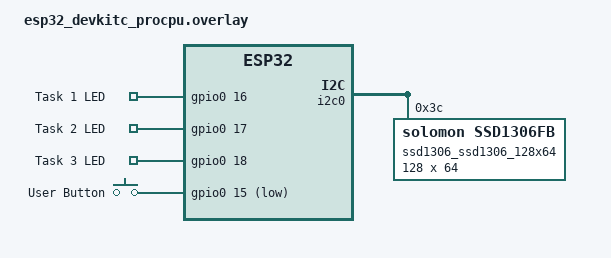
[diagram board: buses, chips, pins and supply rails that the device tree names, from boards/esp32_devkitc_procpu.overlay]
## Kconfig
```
mainmenu "TDA App"

config NUM_TASKS
  int "Number of tasks"
  default 5

config TASK1_PERIOD_MS
  int "Period of TASK1" 
  default 10000

config TASK1_EXECUTION_TIME_MS
  int "Period of TASK1" 
  default 1000

config TASK1_RELEASE_MS
  int "Period of TASK1" 
  default 0

config TASK2_PERIOD_MS
  int "Period of TASK2" 
  default 10000

config TASK2_EXECUTION_TIME_MS
  int "Period of TASK2" 
  default 1000

config TASK2_RELEASE_MS
  int "Period of TASK2" 
  default 0

config TASK3_PERIOD_MS
  int "Period of TASK3" 
  default 10000

config TASK3_EXECUTION_TIME_MS
  int "Period of TASK3" 
  default 1000

config TASK3_RELEASE_MS
  int "Period of TASK3" 
  default 0

config TASK4_PERIOD_MS
  int "Period of TASK4" 
  default 10000

config TASK4_EXECUTION_TIME_MS
  int "Period of TASK4" 
  default 1000

config TASK4_RELEASE_MS
  int "Period of TASK4" 
  default 0

config SNOWFLAKES
  int "Number of snowflakes to animate"
  default 40

source "Kconfig.zephyr"
```

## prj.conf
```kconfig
CONFIG_GPIO=y
CONFIG_BOOTLOADER_MCUBOOT=y

CONFIG_DISPLAY=y
CONFIG_CHARACTER_FRAMEBUFFER=y
CONFIG_CBPRINTF_FP_SUPPORT=y

CONFIG_SCHED_DEADLINE=y

# Task Configuration
CONFIG_NUM_TASKS=5

CONFIG_TASK1_PERIOD_MS=5000
CONFIG_TASK1_EXECUTION_TIME_MS=2000
CONFIG_TASK1_RELEASE_MS=0

CONFIG_TASK2_PERIOD_MS=3000
CONFIG_TASK2_EXECUTION_TIME_MS=1000
CONFIG_TASK2_RELEASE_MS=0

CONFIG_TASK3_PERIOD_MS=7000
CONFIG_TASK3_EXECUTION_TIME_MS=2000
CONFIG_TASK3_RELEASE_MS=0

CONFIG_TASK4_PERIOD_MS=7000
CONFIG_TASK4_EXECUTION_TIME_MS=1000
CONFIG_TASK4_RELEASE_MS=0

CONFIG_SNOWFLAKES=40
```

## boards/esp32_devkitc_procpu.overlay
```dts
/ {
    aliases {
        sw0 = &button;
    };

    custom_gpio {
        compatible = "gpio-keys";

        task1_led: task1_led {
            gpios = <&gpio0 16 GPIO_ACTIVE_HIGH>;
            label = "Task 1 LED";
        };
        task2_led: task2_led {
            gpios = <&gpio0 17 GPIO_ACTIVE_HIGH>;
            label = "Task 2 LED";
        };
        task3_led: task3_led {
            gpios = <&gpio0 18 GPIO_ACTIVE_HIGH>;
            label = "Task 3 LED";
        };
    };

    /* TODO (Part b): Configure a button input on PIN 15 */
    buttons {
        compatible = "gpio-keys";
        button: button {
            gpios = <&gpio0 15 (GPIO_PULL_UP | GPIO_ACTIVE_LOW)>;
            label = "User Button";
        };
    };

    chosen {
        task1_led = &task1_led;
        task2_led = &task2_led;
        task3_led = &task3_led;
	zephyr,display = &ssd1306_ssd1306_128x64;
    };
};

/* TODO: Configure I2C for the SSD1306 display.
* You can reuse your solution from the previous exercise. */
&i2c0 {
    status = "okay";

    ssd1306_ssd1306_128x64: ssd1306@3c {
        compatible = "solomon,ssd1306fb";
        reg = <0x3c>;
        width = <128>;
        height = <64>;
        segment-offset = <0>;
        page-offset = <0>;
        display-offset = <0>;
        multiplex-ratio = <63>;
        segment-remap;
        com-invdir;
        prechargep = <0x22>;
    };
};
```

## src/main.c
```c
/**
 * Assignment 3: EDF Scheduler with Deferrable Server
 * 
 * Authors: Eldeib, Marawan
 *          Moninger, Lukas
 *          Patoliya, Mayur
 */

#include <zephyr/kernel.h>

#include "tasks.h"

K_THREAD_STACK_ARRAY_DEFINE(task_stacks, CONFIG_NUM_TASKS, STACKSIZE);

PERIODIC_TASK_SETUP(1);
PERIODIC_TASK_SETUP(2);
PERIODIC_TASK_SETUP(3);
DEFERRABLE_SERVER_SETUP(4);

int main()
{
	/* Compared to the previous exercises, we now utilize slightly more advanced iterable
	 * sections that simplify task initialization. For more information, please refer to
	 *  - https://docs.zephyrproject.org/latest/kernel/iterable_sections/index.html
	 *  - https://docs.zephyrproject.org/latest/doxygen/html/group__iterable__section__apis.html
	 */
	STRUCT_SECTION_FOREACH(task_params, params) {
		if (params->type == DEFERRABLE_SERVER || acceptance_test(params)) {
			k_thread_create(params->thread, task_stacks[params->task_id], STACKSIZE,
					params->func, params, NULL, NULL, params->priority, 0,
					K_NO_WAIT);
		}
	}

	start_time_keeper();

	return 0;
}
```

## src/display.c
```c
#include "display.h"
#include <zephyr/device.h>
#include <zephyr/drivers/display.h>
#include <zephyr/kernel.h>

#include <zephyr/display/cfb.h>
#include <zephyr/drivers/display.h>
#include <stdlib.h>

#define SSD1306 DT_CHOSEN(zephyr_display)
static const struct device *dev = DEVICE_DT_GET(SSD1306);
static const uint32_t display_width = DT_PROP(SSD1306, width);
static const uint32_t display_height = DT_PROP(SSD1306, height);

int ssd1306_setup(void)
{
	if (!device_is_ready(dev)) {
		printf("ERROR: Display device not ready");
		return -EIO;
	}

	if (display_set_pixel_format(dev, PIXEL_FORMAT_MONO01)) {
		printf("ERROR: Failed to set required pixel format");
		return -EIO;
	}

	if (display_blanking_off(dev)) {
		printf("ERROR: Failed to turn off display blanking");
		return -EIO;
	}

	if (cfb_framebuffer_init(dev)) {
		printf("ERROR: Failed to initialize character framebuffer");
		return -EIO;
	}
	cfb_framebuffer_invert(dev);
	cfb_framebuffer_clear(dev, true);
	return 0;
}
SYS_INIT(ssd1306_setup, APPLICATION, CONFIG_KERNEL_INIT_PRIORITY_DEVICE);

/* @brief Draw bitmap
 *
 * @param dev	  pointer to device structure for driver instance
 * @param bitmap  bitmap of size 128x64
 *
 * @return 0 on success, negative value otherwise
 */
int cfb_draw_bitmap(const struct device *dev, const unsigned char *bitmap)
{
	struct cfb_position pos;
	uint16_t byteWidth = display_width / 8;
	for (pos.y = 0; pos.y < display_height; pos.y++) {
		for (pos.x = 0; pos.x < display_width; pos.x++) {
			if (bitmap[pos.y * byteWidth + pos.x / 8] & (128 >> (pos.x & 7))) {
				cfb_draw_point(dev, &pos);
			}
		}
	}

	return 0;
}

/* @brief Display snowman bitmap and CONFIG_SNOWFLAKES randomly generated snowflakes
 *
 * For some reason, the SSD1306 display does not always respond, which is often
 * because it was not correctly initialized. While unsatisfactory, the simplest
 * approach seems to be to restart the ESP or to reconnect the USB cable.
 */
void ssd1306_print_aperiodic_task()
{
	if (!device_is_ready(dev)) {
		printf("ERROR: Display device not ready");
		printf("Check your wiring or try reconnecting your USB cable");
		return;
	}

	cfb_framebuffer_clear(dev, false);
	cfb_draw_bitmap(dev, snowman_bitmap);

	struct cfb_position pos;
	for (int i = 0; i < CONFIG_SNOWFLAKES; i++) {
		pos.x = rand() % display_width;
		pos.y = rand() % display_height;
		cfb_draw_point(dev, &pos);
	}
	cfb_framebuffer_finalize(dev);
}
```

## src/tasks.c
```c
#include <assert.h>
#include <stdio.h>

#include "display.h"
#include "tasks.h"

/**
 * @brief Let LED blink for (roughly) delay_ms.
 *
 * @param params    Task parameters
 */
void useless_load_periodic_tasks(struct task_params *params)
{
	assert(params->execution_time_ms % BLINK_PERIOD_MS == 0 && BLINK_PERIOD_MS % 2 == 0);

	// Lock scheduler to avoid time sharing if the deadline of two or multiple tasks is equal
	k_sched_lock();
	for (int32_t d = 0; d < params->execution_time_ms; d += BLINK_PERIOD_MS) {
		printf(" Task %d with deadline %d\n", params->task_id,
		       params->thread->base.prio_deadline);
		gpio_pin_set_dt(params->led, 1);
		k_busy_wait(BLINK_PERIOD_MS * 1000 / 2);
		gpio_pin_set_dt(params->led, 0);
		k_busy_wait(BLINK_PERIOD_MS * 1000 / 2);
	}
	k_sched_unlock();
}

/**
 * @brief Show animation on SSD1306 for one second
 */
void useless_load_aperiodic_tasks()
{
	k_sched_lock();
	for (int32_t d = 0; d < MSEC_PER_SEC; d += BLINK_PERIOD_MS) {
		printf(" Aperiodic task\n");
		ssd1306_print_aperiodic_task();
		k_busy_wait(BLINK_PERIOD_MS * 1000);
	}
	k_sched_unlock();
}

/**
 * @brief Simplified version of z_impl_k_thread_deadline_set
 *
 * Unfortunately, z_impl_k_thread_deadline_set relies on deadlines
 * relative to the CPU cycle counter, while casting the result in
 * int32_t. For our dummy tasks, with periods and latencies in the
 * range of multiple seconds, this will result in frequent overflows
 * that breaks EDF as a consequence.
 *
 * @param thread    thread handle
 * @param deadline  thread deadline in milliseconds
 */
void thread_deadline_set(struct k_thread *thread, int deadline)
{
	/* TODO (Part a): Write a simplified version of z_impl_k_thread_deadline_set
	 * that specified the deadline in milliseconds rather than
	 * in CPU cycle counts.
	 * Hint: You can use k_yield() after updating the deadline
	 * to dequeue the thread from the ready queue. */

	/* Clamp deadline to valid range */
	deadline = CLAMP(deadline, 0, INT_MAX);

	/* Calculate absolute deadline in milliseconds from current uptime */
	int32_t newdl = k_uptime_get_32() + deadline;

	/* Set thread's priority deadline */
	thread->base.prio_deadline = newdl;

	/* Yield to trigger rescheduling */
	k_yield();
}

/**
 * @brief System density test for periodic tasks
 *
 * @params params task specification
 */
bool acceptance_test(struct task_params *params)
{
	static bool acceptance_test_results[CONFIG_NUM_TASKS];

	/* TODO (Part a): The system density test should account for the deferrable server (DS).
	 * That is, we assume the DS is always accepted and the acceptance is solely performed for
	 * periodic tasks. Moreover the acceptance test is called iteratively (see main.c), meaning
	 * that Task i must only account for the previously accepted tasks.
	 *
	 * Your solution should
	 *  - use STRUCT_SECTION_FOREACH for retrieving the task specification of all other tasks
	 *    (see main.c for reference)
	 *  - store the acceptance test result in *acceptance_test_results*
	 * */

	/* Calculate system density: sum of (execution_time / period) for all tasks */
	float system_density = 0.0f;

	/* Iterate through all tasks using STRUCT_SECTION_FOREACH */
	STRUCT_SECTION_FOREACH(task_params, p) {
		/* Include deferrable server in density calculation */
		if (p->type == DEFERRABLE_SERVER) {
			system_density += (float)p->execution_time_ms / (float)p->period_ms;
		}
		/* Include previously accepted periodic tasks (task_id < current task_id) */
		else if (p->type == PERIODIC_TASK && p->task_id < params->task_id &&
			 acceptance_test_results[p->task_id]) {
			system_density += (float)p->execution_time_ms / (float)p->period_ms;
		}
	}

	/* Add current task to density */
	system_density += (float)params->execution_time_ms / (float)params->period_ms;

	/* EDF acceptance test: system density must be <= 1.0 */
	bool accepted = (system_density <= 1.0f);

	/* Store the result */
	acceptance_test_results[params->task_id] = accepted;

	return accepted;
}

/**
 * @brief Dummy task implementation that toggles LED
 */
void periodic_task_implementation(void *p0, void *p1, void *p2)
{
	struct task_params *params = (struct task_params *)p0;

	if (!gpio_is_ready_dt(params->led)) {
		return;
	}
	int ret = gpio_pin_configure_dt(params->led, GPIO_OUTPUT_ACTIVE);
	if (ret < 0) {
		return;
	}

	k_timer_start(params->timer, K_NO_WAIT, K_MSEC(params->period_ms));
	for (int32_t i = 1;; i++) {
		k_timer_status_sync(params->timer);
		thread_deadline_set(params->thread, i * params->period_ms);
		useless_load_periodic_tasks(params);
	}
}

/* TODO (Part b): Configure the button in the DTS overlay and initialize the GPIO driver here.
 * The goal is to release an aperiodic job whenever the button is pressed and to use the deferrable
 * server (as introduced in the lecture) to schedule them. To this end, you have to complete
 * the implementation of
 *  - button_press_callback
 *  - init_button_gpio
 *  - deferrable_server_implementation
 * */

/* Semaphore to signal button press from ISR to deferrable server */
K_SEM_DEFINE(button_sem, 0, 1);

/* Button device specification */
static const struct gpio_dt_spec button_spec = GPIO_DT_SPEC_GET(DT_ALIAS(sw0), gpios);
static struct gpio_callback button_cb_data;

void button_press_callback(const struct device *dev, struct gpio_callback *cb, uint32_t pins)
{
	/* Utilize a suitable synchronization primitive to let the DS know that
	 * the button was pressed. Note that
	 *  - Interrupt service routines (ISRs) are very different from normal threads and many
	 *    kernel APIs behave differently when called from an ISR or from a thread. The
	 *    implementation of this ISR should therefore be as lightweight as possible. For more
	 *    information, see https://docs.zephyrproject.org/latest/kernel/services/interrupts.html
	 *  - Deferrable servers are supposed to yield their execution to the scheduler if there
	 *    are no asynchronous jobs available. Thus, your synchronization primitive must not
	 *    result in busy waiting that may start periodic tasks.
	 * */

	/* Give semaphore to signal button press - this is ISR-safe and non-blocking */
	k_sem_give(&button_sem);
}

int init_button_gpio()
{
	/* TODO: Initialize the GPIO pin to trigger a callback to *button_press_callback* whenever
	 *the button is pressed. For reference, you may want to have a look at:
	 *https://docs.zephyrproject.org/latest/samples/basic/button/README.html */

	int ret;

	/* Check if button device is ready */
	if (!gpio_is_ready_dt(&button_spec)) {
		printf("Error: button device %s is not ready\n", button_spec.port->name);
		return -1;
	}

	/* Configure GPIO pin as input */
	ret = gpio_pin_configure_dt(&button_spec, GPIO_INPUT);
	if (ret != 0) {
		printf("Error %d: failed to configure %s pin %d\n", ret, button_spec.port->name,
		       button_spec.pin);
		return ret;
	}

	/* Configure interrupt on button press (falling edge for active-low) */
	ret = gpio_pin_interrupt_configure_dt(&button_spec, GPIO_INT_EDGE_TO_ACTIVE);
	if (ret != 0) {
		printf("Error %d: failed to configure interrupt on %s pin %d\n", ret,
		       button_spec.port->name, button_spec.pin);
		return ret;
	}

	/* Initialize callback */
	gpio_init_callback(&button_cb_data, button_press_callback, BIT(button_spec.pin));
	gpio_add_callback(button_spec.port, &button_cb_data);

	printf("Button initialized on GPIO%d\n", button_spec.pin);
	return 0;
}

void deferrable_server_implementation(void *p0, void *p1, void *p2)
{
	struct task_params *params = (struct task_params *)p0;

	/* TODO: Implement a deferrable server that replenishes periodically, but
	 * that does not accumulate its budget over multiple cycles. For simplicity,
	 * you may assume the following:
	 *  - Every aperiodic job is identical and wants to run *useless_load_aperiodic_tasks()*
	 *  - The budget of the DS is equal to the budget of one aperiodic job per period
	 * As a starting point, you can likely reuse parts of *periodic_task_implementation*.
	 * */

	/* Initialize button GPIO */
	if (init_button_gpio() < 0) {
		printf("Failed to initialize button GPIO\n");
		return;
	}

	printf("Deferrable Server started (period=%dms, budget=%dms)\n", params->period_ms,
	       params->execution_time_ms);

	/* Start periodic timer */
	k_timer_start(params->timer, K_NO_WAIT, K_MSEC(params->period_ms));

	for (int32_t i = 1;; i++) {
		/* Wait for next period */
		k_timer_status_sync(params->timer);

		/* Set deadline for this period (EDF scheduling) */
		thread_deadline_set(params->thread, i * params->period_ms);

		/* Budget is replenished at the start of each period
		 * No budget accumulation - reset to execution_time_ms each period */
		int32_t budget = params->execution_time_ms;

		/* Check if button was pressed (non-blocking check) */
		if (k_sem_take(&button_sem, K_NO_WAIT) == 0) {
			/* Button was pressed - aperiodic job is available */

			/* Execute aperiodic job only if DS has enough budget */
			if (budget >= (int32_t)MSEC_PER_SEC) {
				printf(" Deferrable Server: Executing aperiodic job\n");
				useless_load_aperiodic_tasks();
				budget -= MSEC_PER_SEC;
			} else {
				printf(" Deferrable Server: Insufficient budget for aperiodic job\n");
				/* Put the semaphore back since we couldn't service the request */
				k_sem_give(&button_sem);
			}
		}

		/* If no job available or no budget, DS yields without consuming budget
		 * The k_timer_status_sync already handles yielding to scheduler */
	}
}

/**
 * @brief Prints current time in seconds
 */
void print_time()
{
	static int time_sec = 0;
	printf("T = %ds:\n", time_sec);
	time_sec++;
}
K_TIMER_DEFINE(time_keeper, print_time, NULL);

/**
 * @brief Initializes periodic timer interrupt to print time in seconds
 */
void start_time_keeper(void)
{
	k_timer_start(&time_keeper, K_NO_WAIT, K_MSEC(1000));
}
```
